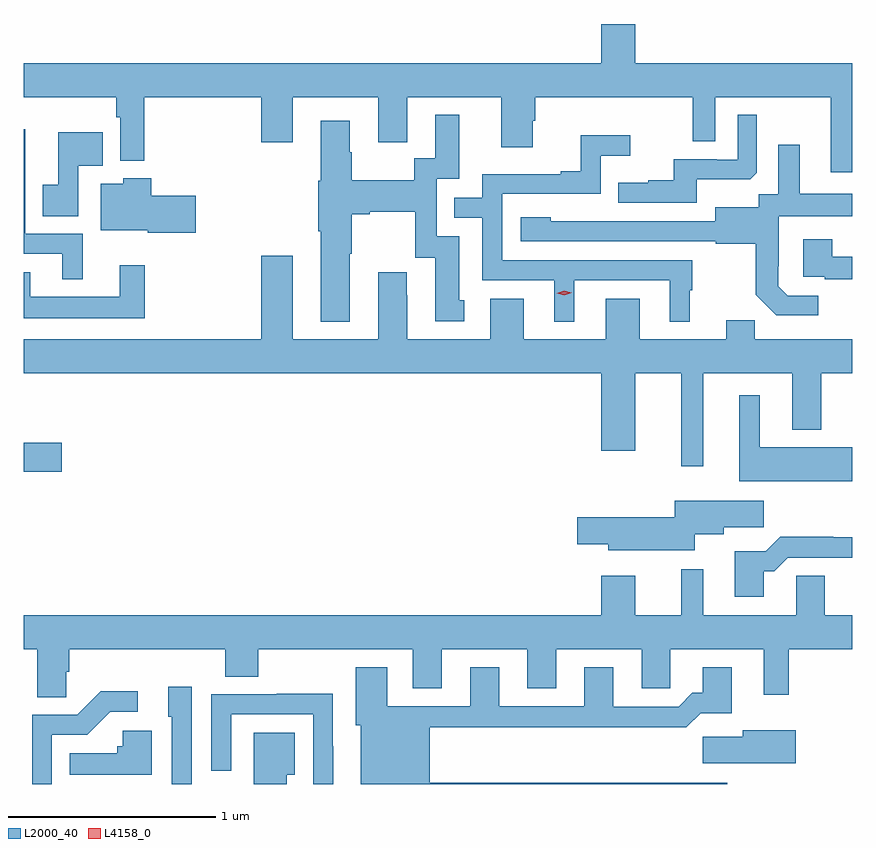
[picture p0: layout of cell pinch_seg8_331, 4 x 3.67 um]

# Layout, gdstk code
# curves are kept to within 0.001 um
import gdstk
lib = gdstk.Library(unit=1e-6, precision=1e-09)
def R(c, l, rs):  # rectangles x0, y0, x1, y1
    for r in rs: c.add(gdstk.rectangle(r[:2], r[2:], *l))
def P(c, l, *ps):  # polygons
    for p in ps: c.add(gdstk.Polygon(p, *l))
L2000_40 = (2000, 40)
L4158_0 = (4158, 0)

pinch_seg8_331 = lib.new_cell('pinch_seg8_331')
R(pinch_seg8_331, L2000_40, [(437.944,1137.335,438.127,1137.477)])
P(pinch_seg8_331, L2000_40, [(441.944,1139.308),(440.896,1139.308),(440.896,1139.497),(440.732,1139.497),(440.732,1139.308),(437.944,1139.308),(437.944,1139.144),(438.391,1139.144),(438.391,1139.048),(438.411,1139.048),(438.411,1138.838),(438.527,1138.838),(438.527,1139.144),(439.091,1139.144),(439.091,1138.926),(439.243,1138.926),(439.243,1139.144),(439.655,1139.144),(439.655,1138.926),(439.795,1138.926),(439.795,1139.144),(440.249,1139.144),(440.249,1138.902),(440.401,1138.902),(440.401,1139.031),(440.414,1139.031),(440.414,1139.144),(441.174,1139.144),(441.174,1138.93),(441.282,1138.93),(441.282,1139.144),(441.839,1139.144),(441.839,1138.782),(441.944,1138.782)],
  [(439.519,1138.387),(439.527,1138.387),(439.527,1138.58),(439.615,1138.58),(439.615,1138.592),(439.835,1138.592),(439.835,1138.368),(439.931,1138.368),(439.931,1138.062),(440.071,1138.062),(440.071,1138.164),(440.047,1138.164),(440.047,1138.473),(439.938,1138.473),(439.938,1138.749),(440.047,1138.749),(440.047,1139.059),(439.931,1139.059),(439.931,1138.85),(439.83,1138.85),(439.83,1138.744),(439.527,1138.744),(439.527,1138.878),(439.519,1138.878),(439.519,1139.029),(439.379,1139.029),(439.379,1138.74),(439.367,1138.74),(439.367,1138.496),(439.379,1138.496),(439.379,1138.061),(439.519,1138.061)],
  [(441.193,1138.748),(441.451,1138.748),(441.483,1138.779),(441.483,1139.059),(441.39,1139.059),(441.39,1138.842),(441.29,1138.842),(441.29,1138.845),(441.083,1138.845),(441.083,1138.744),(440.959,1138.744),(440.959,1138.732),(440.815,1138.732),(440.815,1138.635),(441.193,1138.635)],
  [(438.229,1138.485),(437.952,1138.485),(437.952,1138.99),(437.944,1138.99),(437.944,1138.389),(438.131,1138.389),(438.131,1138.265),(438.229,1138.265)],
  [(438.207,1138.814),(438.326,1138.814),(438.326,1138.975),(438.11,1138.975),(438.11,1138.722),(438.037,1138.722),(438.037,1138.57),(438.207,1138.57)],
  [(440.602,1138.26),(441.062,1138.26),(441.062,1138.061),(441.16,1138.061),(441.16,1138.212),(441.172,1138.212),(441.172,1138.356),(440.253,1138.356),(440.253,1138.677),(440.73,1138.677),(440.73,1138.862),(440.872,1138.862),(440.872,1138.961),(440.632,1138.961),(440.632,1138.786),(440.537,1138.786),(440.537,1138.773),(440.157,1138.773),(440.157,1138.659),(440.023,1138.659),(440.023,1138.563),(440.157,1138.563),(440.157,1138.26),(440.504,1138.26),(440.504,1138.061),(440.602,1138.061)],
  [(441.778,1138.185),(441.633,1138.185),(441.586,1138.232),(441.586,1138.327),(441.588,1138.327),(441.588,1138.568),(441.944,1138.568),(441.944,1138.678),(441.691,1138.678),(441.691,1138.915),(441.587,1138.915),(441.587,1138.676),(441.492,1138.676),(441.492,1138.612),(441.281,1138.612),(441.281,1138.545),(440.487,1138.546),(440.487,1138.564),(440.343,1138.564),(440.343,1138.449),(441.285,1138.449),(441.285,1138.437),(441.477,1138.437),(441.477,1138.191),(441.577,1138.091),(441.778,1138.091)],
  [(438.775,1138.668),(438.56,1138.668),(438.56,1138.753),(438.426,1138.753),(438.426,1138.726),(438.317,1138.726),(438.317,1138.502),(438.543,1138.502),(438.543,1138.49),(438.775,1138.49)],
  [(441.943,1138.277),(441.944,1138.277),(441.944,1138.374),(441.847,1138.374),(441.847,1138.459),(441.707,1138.459),(441.707,1138.278),(441.811,1138.278),(441.811,1138.266),(441.943,1138.266)],
  [(441.223,1137.812),(441.653,1137.812),(441.653,1137.539),(441.793,1137.539),(441.793,1137.812),(441.944,1137.812),(441.944,1137.976),(441.473,1137.976),(441.473,1138.067),(441.335,1138.067),(441.335,1137.976),(440.917,1137.976),(440.917,1138.171),(440.753,1138.171),(440.753,1137.976),(440.359,1137.976),(440.359,1138.171),(440.195,1138.171),(440.195,1137.976),(439.795,1137.976),(439.795,1138.187),(439.792,1138.187),(439.792,1138.3),(439.655,1138.3),(439.655,1137.976),(439.243,1137.976),(439.243,1138.378),(439.091,1138.378),(439.091,1137.976),(437.944,1137.976),(437.944,1137.812),(440.732,1137.812),(440.732,1137.438),(440.896,1137.438),(440.896,1137.812),(441.119,1137.812),(441.119,1137.363),(441.223,1137.363)],
  [(438.529,1138.333),(438.407,1138.333),(438.407,1138.18),(437.977,1138.18),(437.977,1138.299),(437.944,1138.299),(437.944,1138.076),(438.529,1138.076)],
  [(441.944,1137.454),(441.496,1137.454),(441.496,1137.706),(441.398,1137.706),(441.398,1137.29),(441.944,1137.29)],
  [(441.184,1137.035),(441.322,1137.035),(441.322,1137.067),(441.517,1137.067),(441.517,1137.196),(441.086,1137.196),(441.086,1137.117),(440.616,1137.117),(440.616,1136.987),(440.765,1136.987),(440.765,1136.957),(441.184,1136.957)],
  [(441.517,1136.855),(441.566,1136.855),(441.633,1136.922),(441.944,1136.922),(441.944,1137.02),(441.851,1137.02),(441.851,1137.023),(441.596,1137.023),(441.526,1136.953),(441.377,1136.953),(441.377,1136.733),(441.517,1136.733)],
  [(438.15,1136.371),(438.164,1136.371),(438.164,1136.48),(438.917,1136.48),(438.917,1136.347),(439.077,1136.347),(439.077,1136.48),(439.823,1136.48),(439.823,1136.29),(439.963,1136.29),(439.963,1136.48),(440.375,1136.48),(440.375,1136.29),(440.515,1136.29),(440.515,1136.48),(440.927,1136.48),(440.927,1136.29),(441.066,1136.29),(441.066,1136.48),(441.515,1136.48),(441.515,1136.259),(441.637,1136.259),(441.637,1136.48),(441.944,1136.48),(441.944,1136.644),(441.811,1136.644),(441.811,1136.834),(441.672,1136.834),(441.672,1136.644),(441.223,1136.644),(441.223,1136.866),(441.119,1136.866),(441.119,1136.644),(440.896,1136.644),(440.896,1136.833),(440.732,1136.833),(440.732,1136.644),(437.944,1136.644),(437.944,1136.48),(438.011,1136.48),(438.011,1136.248),(438.15,1136.248)],
  [(441.34,1135.834),(439.903,1135.834),(439.903,1136.104),(440.887,1136.104),(440.887,1136.102),(441.143,1136.102),(441.212,1136.171),(441.361,1136.171),(441.361,1136.392),(441.221,1136.392),(441.221,1136.269),(441.172,1136.269),(441.105,1136.202),(440.791,1136.202),(440.791,1136.392),(440.651,1136.392),(440.651,1136.205),(440.239,1136.205),(440.239,1136.392),(440.099,1136.392),(440.099,1136.205),(439.699,1136.205),(439.699,1136.392),(439.547,1136.392),(439.547,1136.112),(439.571,1136.112),(439.571,1135.829),(441.34,1135.829)],
  [(438.756,1136.299),(438.641,1136.299),(438.641,1136.154),(438.66,1136.154),(438.66,1135.829),(438.756,1135.829)],
  [(438.081,1136.067),(438.25,1136.067),(438.361,1136.178),(438.496,1136.178),(438.496,1136.276),(438.317,1136.276),(438.204,1136.163),(437.985,1136.163),(437.985,1135.829),(438.081,1135.829)],
  [(439.438,1136.012),(439.437,1136.012),(439.437,1136.264),(439.165,1136.264),(439.165,1136.262),(438.849,1136.262),(438.849,1135.893),(438.945,1135.893),(438.945,1136.166),(439.341,1136.166),(439.341,1135.829),(439.438,1135.829)],
  [(441.67,1136.089),(441.416,1136.089),(441.416,1136.057),(441.222,1136.057),(441.222,1135.928),(441.67,1135.928)],
  [(438.562,1136.086),(438.423,1136.086),(438.423,1136.01),(438.397,1136.01),(438.397,1135.978),(438.166,1135.978),(438.166,1135.874),(438.562,1135.874)],
  [(439.213,1135.874),(439.252,1135.874),(439.252,1136.077),(439.055,1136.077),(439.055,1135.829),(439.213,1135.829)])
P(pinch_seg8_331, L4158_0, [(440.553,1138.189),(440.517,1138.197),(440.517,1138.198),(440.517,1138.198),(440.553,1138.209),(440.589,1138.201),(440.589,1138.2),(440.589,1138.2)])

lib.write_gds('pinch_seg8_331.gds')
